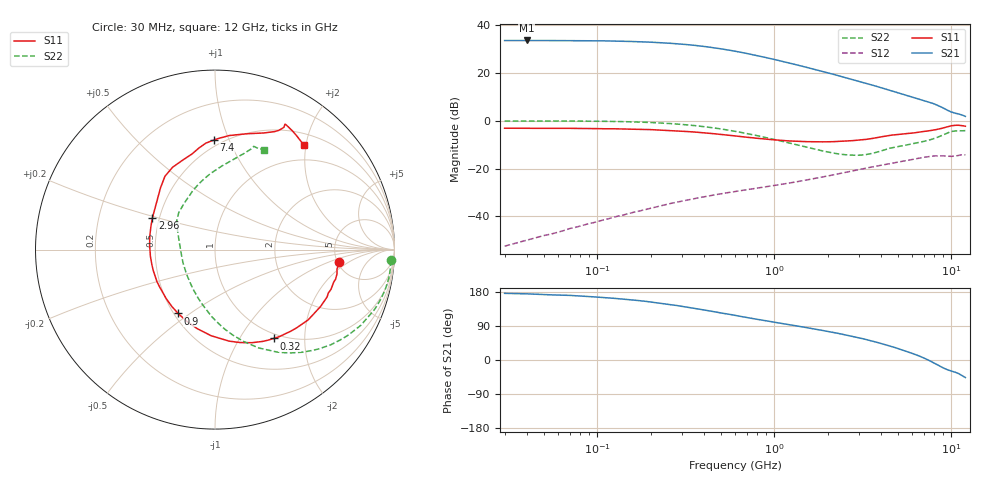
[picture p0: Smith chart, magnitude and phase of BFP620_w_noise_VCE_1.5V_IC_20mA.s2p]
! Infineon Technologies  Discrete & RF Semiconductors
! BFP620
! VCE =  1.5 V,  IC =  20 mA
! Common Emitter S-Parameters:  Nov 2015
# GHz  S  MA  R  50
!  f  S11  S21  S12  S22
! GHz  MAG  ANG  MAG  ANG  MAG  ANG  MAG  ANG
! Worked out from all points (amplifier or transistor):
!   239 points, 30 MHz to 12 GHz, reference 50 ohm
!   highest |S21| = 33.5 dB at 40 MHz (marker M1)
!   |S21| within 3 dB of that: start of sweep to 450.7 MHz
!   unconditionally stable (mu >= 1): 3.014 GHz to end of sweep
!   at 300 MHz: K = 0.26, MSG = 32.8 dB, |S12| = -33.6 dB
!   at 1.88 GHz: K = 0.90, MSG = 22.0 dB, |S12| = -23.5 dB
!   at 12 GHz: K = 1.10, MAG = 6.1 dB, |S12| = -14.3 dB
!   lowest NFmin = 0.95 dB at 450 MHz
!   S11 on the Smith chart (normalised r, x): 30 MHz: 5.17, -1.38; 320 MHz: 0.93, -1.42; 900 MHz: 0.53, -0.45; 2.96 GHz: 0.46, +0.19; 7.4 GHz: 0.45, +0.88; 12 GHz: 0.70, +1.96
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0.03  0.6949 -5.7  46.97 175.9  0.0024 88.8  0.9802 -3.5
0.04  0.6922 -7.6  47.14 174.6  0.0032 87.6  0.9819 -5.0
0.05  0.688 -9.1  47 172.4  0.004 86.2  0.9824 -6.5
0.07  0.692 -13.7  46.97 170.5  0.0056 84.7  0.981 -9.4
0.085  0.6847 -16.2  46.57 168.2  0.0067 82.5  0.9769 -11.6
0.12  0.6779 -22.9  45.94 163.4  0.0093 79.9  0.964 -16.6
0.15  0.6679 -28.4  45.08 159.4  0.0115 77.5  0.9481 -20.8
0.2  0.6501 -37.1  43.42 153.2  0.0148 74.1  0.9151 -27.5
0.24  0.6297 -43.9  41.87 148.4  0.0174 71.4  0.8838 -32.4
0.32  0.5931 -56.6  38.67 139.7  0.0219 66.9  0.8174 -41.5
0.4  0.5582 -68.3  35.43 132.0  0.0257 63.3  0.7498 -49.7
0.45  0.5364 -74.9  33.4 127.9  0.0278 61.4  0.7093 -54.3
0.6  0.4802 -92.6  28.15 117.6  0.0332 57.2  0.6 -66.0
0.7  0.451 -102.8  25.21 112.0  0.0362 55.4  0.5378 -72.5
0.9  0.4107 -120.0  20.64 103.3  0.0416 53.2  0.4414 -83.6
1.2  0.3777 -140.0  16.07 93.5  0.0494 51.2  0.3447 -97.2
1.64  0.3625 -162.6  12.06 82.9  0.0608 48.9  0.2622 -115.5
2.2  0.3656 175.3  9.071 71.9  0.0751 45.2  0.2077 -140.3
2.96  0.3901 153.4  6.72 59.0  0.0939 39.1  0.1895 -172.7
4.5  0.4948 124.3  4.279 36.6  0.1272 24.8  0.2663 143.3
7.4  0.6108 90.6  2.468 -0.1  0.1774 -3.3  0.3884 101.1
12  0.7645 49.7  1.228 -46.3  0.1934 -41.8  0.62 63.9
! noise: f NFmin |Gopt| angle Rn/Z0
0.45  0.95  0.03  -45  0.13
0.9  0.96  0.06  -126  0.12
1.9  0.96  0.11  -135  0.1
2.4  0.99  0.13  -132  0.1
3.5  1.04  0.21  -91  0.14
5.5  1.31  0.24  -83  0.17
10  1.72  0.6  -48  0.79
